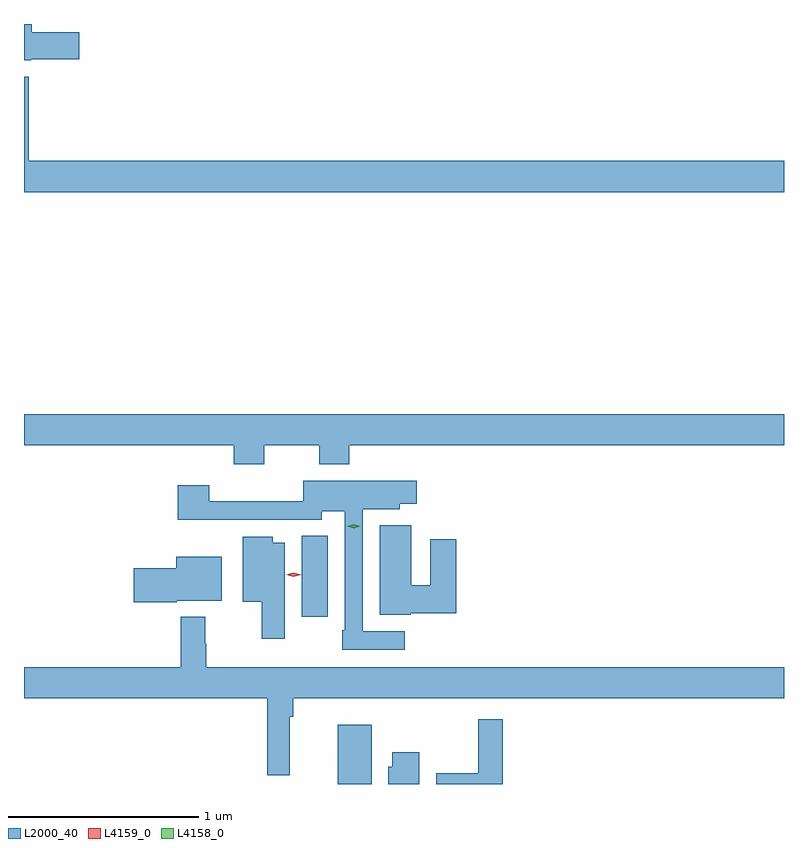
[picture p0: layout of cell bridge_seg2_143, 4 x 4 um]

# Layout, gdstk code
import gdstk
lib = gdstk.Library(unit=1e-6, precision=1e-09)
def R(c, l, rs):  # rectangles x0, y0, x1, y1
    for r in rs: c.add(gdstk.rectangle(r[:2], r[2:], *l))
def P(c, l, *ps):  # polygons
    for p in ps: c.add(gdstk.Polygon(p, *l))
L2000_40 = (2000, 40)
L4158_0 = (4158, 0)
L4159_0 = (4159, 0)

bridge_seg2_143 = lib.new_cell('bridge_seg2_143')
R(bridge_seg2_143, L2000_40, [(312.059,628.537,312.238,628.849), (311.87,629.418,312.007,629.843)])
P(bridge_seg2_143, L2000_40, [(310.446,632.351),(310.699,632.351),(310.699,632.493),(310.45,632.493),(310.45,632.537),(310.409,632.537),(310.409,632.345),(310.446,632.345)],
  [(314.409,631.816),(310.435,631.816),(310.435,632.26),(310.409,632.26),(310.409,631.652),(314.409,631.652)],
  [(311.673,630.32),(311.962,630.32),(311.962,630.221),(312.122,630.221),(312.122,630.32),(314.409,630.32),(314.409,630.484),(310.409,630.484),(310.409,630.32),(311.513,630.32),(311.513,630.221),(311.673,630.221)],
  [(312.412,629.34),(312.192,629.34),(312.192,629.984),(312.387,629.984),(312.387,630.011),(312.475,630.011),(312.475,630.133),(311.88,630.133),(311.88,630.026),(311.384,630.026),(311.384,630.109),(311.219,630.109),(311.219,629.927),(311.465,629.927),(311.465,629.928),(311.976,629.928),(311.976,629.972),(312.096,629.972),(312.096,629.347),(312.084,629.347),(312.084,629.244),(312.412,629.244)],
  [(312.444,629.435),(312.683,629.435),(312.683,629.824),(312.548,629.824),(312.548,629.583),(312.448,629.583),(312.448,629.899),(312.281,629.899),(312.281,629.429),(312.444,629.429)],
  [(311.782,629.806),(311.719,629.806),(311.719,629.839),(311.561,629.839),(311.561,629.495),(311.66,629.495),(311.66,629.301),(311.782,629.301)],
  [(311.214,629.501),(311.449,629.501),(311.449,629.734),(311.21,629.734),(311.21,629.672),(310.986,629.672),(310.986,629.494),(311.214,629.494)],
  [(311.808,628.892),(311.825,628.892),(311.825,628.988),(314.409,628.988),(314.409,629.152),(311.369,629.152),(311.369,629.276),(311.362,629.276),(311.362,629.416),(311.234,629.416),(311.234,629.152),(310.409,629.152),(310.409,628.988),(311.689,628.988),(311.689,628.584),(311.808,628.584)],
  [(312.929,628.879),(312.801,628.879),(312.801,628.594),(312.579,628.594),(312.579,628.537),(312.929,628.537)],
  [(312.49,628.705),(312.347,628.705),(312.347,628.629),(312.326,628.629),(312.326,628.537),(312.49,628.537)])
P(bridge_seg2_143, L4158_0, [(312.144,629.884),(312.109,629.894),(312.109,629.894),(312.109,629.894),(312.144,629.904),(312.178,629.894),(312.179,629.894),(312.178,629.894)])
P(bridge_seg2_143, L4159_0, [(311.827,629.629),(311.788,629.639),(311.787,629.639),(311.788,629.639),(311.827,629.649),(311.867,629.638),(311.867,629.638),(311.867,629.638)])

lib.write_gds('bridge_seg2_143.gds')
